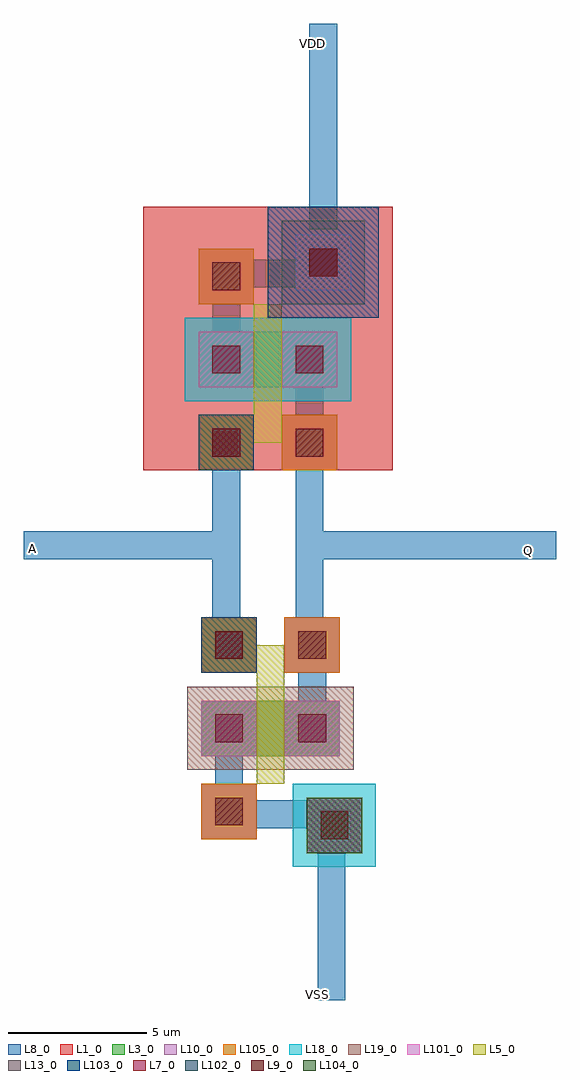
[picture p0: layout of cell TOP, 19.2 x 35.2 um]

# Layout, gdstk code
import gdstk
lib = gdstk.Library(unit=1e-6, precision=1e-07)
def R(c, l, rs):  # rectangles x0, y0, x1, y1
    for r in rs: c.add(gdstk.rectangle(r[:2], r[2:], *l))
L1_0 = (1, 0)
L3_0 = (3, 0)
L5_0 = (5, 0)
L7_0 = (7, 0)
L8_0 = (8, 0)
L9_0 = (9, 0)
L10_0 = (10, 0)
L13_0 = (13, 0)
L18_0 = (18, 0)
L19_0 = (19, 0)
L101_0 = (101, 0)
L102_0 = (102, 0)
L103_0 = (103, 0)
L104_0 = (104, 0)
L105_0 = (105, 0)

dcont = lib.new_cell('dcont')
R(dcont, L3_0, [(-1,-1,1,1)])
R(dcont, L7_0, [(-0.5,-0.5,0.5,0.5)])
R(dcont, L8_0, [(-1,-1,1,1)])
R(dcont, L13_0, [(-0.5,-0.5,0.5,0.5)])
R(dcont, L101_0, [(-1,-1,1,1)])

pcont = lib.new_cell('pcont')
R(pcont, L5_0, [(-1,-1,1,1)])
R(pcont, L7_0, [(-0.5,-0.5,0.5,0.5)])
R(pcont, L8_0, [(-1,-1,1,1)])
R(pcont, L13_0, [(-0.5,-0.5,0.5,0.5)])
R(pcont, L102_0, [(-1,-1,1,1)])

via = lib.new_cell('Via')
R(via, L8_0, [(-1,-1,1,1)])
R(via, L9_0, [(-0.5,-0.5,0.5,0.5)])
R(via, L10_0, [(-1,-1,1,1)])
R(via, L13_0, [(-0.5,-0.5,0.5,0.5)])
R(via, L105_0, [(-1,-1,1,1)])

dcont1 = lib.new_cell('dcont1')
R(dcont1, L3_0, [(-1,-1,1,1)])
R(dcont1, L7_0, [(-0.5,-0.5,0.5,0.5)])
R(dcont1, L8_0, [(-1,-1,1,1)])
R(dcont1, L13_0, [(-0.5,-0.5,0.5,0.5)])
R(dcont1, L101_0, [(-1,-1,1,1)])

nsubcont = lib.new_cell('nsubcont')
R(nsubcont, L1_0, [(-2,-2,2,2)])
R(nsubcont, L19_0, [(-1.5,-1.5,1.5,1.5)])
R(nsubcont, L103_0, [(-2,-2,2,2)])
nsubcont.add(gdstk.Reference(dcont1, (0,0)))

pch = lib.new_cell('Pch')
R(pch, L1_0, [(-2,0,7,9.5)])
R(pch, L3_0, [(0,3,5,5)])
R(pch, L18_0, [(-0.5,2.5,5.5,5.5)])
pch.add(gdstk.FlexPath([(2.5,3),(2.5,5)], 1, ends=(1, 1), simple_path=True, layer=5, datatype=0))  # L5_0
pch.add(gdstk.FlexPath([(1,1.5),(2.5,1.5),(2.5,2)], 1, ends="flush", simple_path=True, layer=5, datatype=0))  # L5_0
pch.add(gdstk.FlexPath([(1,3),(1,5)], 2, ends="flush", simple_path=True, layer=8, datatype=0))  # L8_0
pch.add(gdstk.FlexPath([(4,3),(4,5)], 2, ends="flush", simple_path=True, layer=8, datatype=0))  # L8_0
pch.add(gdstk.FlexPath([(1,4),(1,7)], 1, ends="flush", simple_path=True, layer=8, datatype=0))  # L8_0
pch.add(gdstk.FlexPath([(4,1),(4,4)], 1, ends="flush", simple_path=True, layer=8, datatype=0))  # L8_0
pch.add(gdstk.Reference(dcont, (1,4)))
pch.add(gdstk.Reference(dcont, (4,4)))
pch.add(gdstk.Reference(pcont, (1,1)))
pch.add(gdstk.Reference(via, (1,1)))
pch.add(gdstk.Reference(via, (1,7)))
pch.add(gdstk.Reference(via, (4,1)))
pch.add(gdstk.Reference(nsubcont, (4.5,7.5)))
pch.add(gdstk.Reference(via, (4.5,7.5)))

psubcont = lib.new_cell('psubcont')
R(psubcont, L18_0, [(-1.5,-1.5,1.5,1.5)])
R(psubcont, L104_0, [(-1,-1,1,1)])
psubcont.add(gdstk.Reference(dcont1, (0,0)))

nch = lib.new_cell('Nch')
R(nch, L3_0, [(0,3,5,5)])
R(nch, L19_0, [(-0.5,2.5,5.5,5.5)])
nch.add(gdstk.FlexPath([(2.5,3),(2.5,5)], 1, ends=(1, 1), simple_path=True, layer=5, datatype=0))  # L5_0
nch.add(gdstk.FlexPath([(1,6.5),(2.5,6.5),(2.5,6)], 1, ends="flush", simple_path=True, layer=5, datatype=0))  # L5_0
nch.add(gdstk.FlexPath([(1,3),(1,5)], 2, ends="flush", simple_path=True, layer=8, datatype=0))  # L8_0
nch.add(gdstk.FlexPath([(4,3),(4,5)], 2, ends="flush", simple_path=True, layer=8, datatype=0))  # L8_0
nch.add(gdstk.FlexPath([(1,1),(1,4)], 1, ends="flush", simple_path=True, layer=8, datatype=0))  # L8_0
nch.add(gdstk.FlexPath([(4,4),(4,7)], 1, ends="flush", simple_path=True, layer=8, datatype=0))  # L8_0
nch.add(gdstk.Reference(dcont, (1,4)))
nch.add(gdstk.Reference(dcont, (4,4)))
nch.add(gdstk.Reference(pcont, (1,7)))
nch.add(gdstk.Reference(via, (1,7)))
nch.add(gdstk.Reference(via, (1,1)))
nch.add(gdstk.Reference(via, (4,7)))
nch.add(gdstk.Reference(psubcont, (4.8,0.5)))
nch.add(gdstk.Reference(via, (4.8,0.5)))

top = lib.new_cell('TOP')
top.add(gdstk.FlexPath([(3.4,0),(3.4,-7.4),(3.8,-7.4),(3.8,-7.4)], 1, ends="flush", simple_path=True, layer=8, datatype=0))  # L8_0
top.add(gdstk.FlexPath([(3.4,-3.7),(12.3,-3.7)], 1, ends="flush", simple_path=True, layer=8, datatype=0))  # L8_0
top.add(gdstk.FlexPath([(0.4,0),(0.4,-7.4)], 1, ends="flush", simple_path=True, layer=8, datatype=0))  # L8_0
top.add(gdstk.FlexPath([(0.4,-3.7),(-6.9,-3.7)], 1, ends="flush", simple_path=True, layer=8, datatype=0))  # L8_0
top.add(gdstk.FlexPath([(3.9,7.7),(3.9,15.1)], 1, ends="flush", simple_path=True, layer=8, datatype=0))  # L8_0
top.add(gdstk.FlexPath([(4.2,-13.9),(4.2,-20.1)], 1, ends="flush", simple_path=True, layer=8, datatype=0))  # L8_0
top.add(gdstk.FlexPath([(0.5,-13.4),(4.6,-13.4),(4.6,-13.6)], 1, ends="flush", simple_path=True, layer=8, datatype=0))  # L8_0
top.add(gdstk.FlexPath([(4,6.1),(0.4,6.1)], 1, ends="flush", simple_path=True, layer=8, datatype=0))  # L8_0
top.add(gdstk.Reference(pch, (-0.6,-1)))
top.add(gdstk.Reference(nch, (-0.5,-14.3)))
top.add(gdstk.Label('Q', (11.3,-3.9), layer=8, texttype=0))
top.add(gdstk.Label('A', (-6.6,-3.8), layer=8, texttype=0))
top.add(gdstk.Label('VDD', (3.5,14.4), layer=8, texttype=0))
top.add(gdstk.Label('VSS', (3.7,-19.9), layer=8, texttype=0))

lib.write_gds('TOP.gds')
